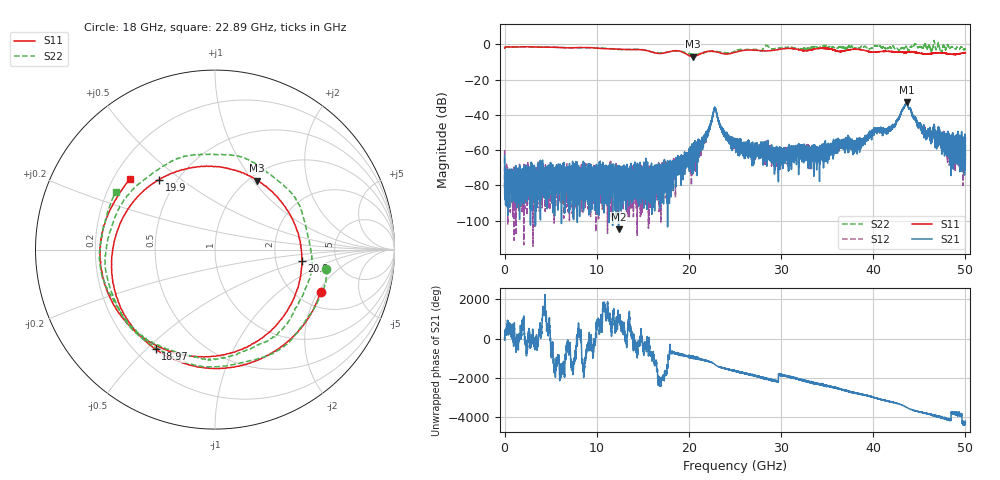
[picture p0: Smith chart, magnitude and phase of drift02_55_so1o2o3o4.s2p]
!Created with skrf (http://scikit-rf.org).
# Hz S RI R 50.0
!freq ReS11 ImS11 ReS21 ImS21 ReS12 ImS12 ReS22 ImS22
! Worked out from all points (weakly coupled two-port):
!   10001 points, 300 kHz to 50 GHz, reference 50 ohm
!   highest |S21| = -32.79 dB at 43.65 GHz (marker M1); lowest = -104.8 dB at 12.37 GHz (marker M2)
!   lowest |S11| = -6.9 dB at 20.41 GHz (marker M3), VSWR 2.63, Z = 54.3 + j52.3 ohm
!   |S11| at or under -10 dB: nowhere
!   |S22| runs from -5.7 to 2.2 dB; largest |S21 - S12| = 0.0034
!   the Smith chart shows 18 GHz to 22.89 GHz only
!   S11 on the Smith chart (normalised r, x): 18 GHz: 2.67, -2.08; 18.97 GHz: 0.28, -0.53; 19.9 GHz: 0.40, +0.42; 20.9 GHz: 2.82, -0.45; 22.89 GHz: 0.27, +0.34
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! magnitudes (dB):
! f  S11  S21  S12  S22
! 300 kHz  -2.1  -63.2  -59.9  -2.1
! 335.3 MHz  -1.4  -87.9  -70.0  -1.4
! 8.335 GHz  -1.7  -76.4  -68.5  -1.9
! 12.37 GHz  -2.7  -104.8  -80.5  -2.9
! 16.67 GHz  -5.2  -77.6  -68.6  -4.7
! 18 GHz  -4.0  -72.9  -70.3  -4.0
! 18.97 GHz  -3.8  -65.0  -67.8  -3.9
! 19.9 GHz  -6.0  -64.6  -64.1  -5.2
! 20.41 GHz  -6.9  -71.6  -57.3  -5.4
! 20.9 GHz  -6.2  -59.9  -57.9  -5.6
! 22.89 GHz  -4.2  -36.5  -36.8  -3.9
! 23.7 GHz  -5.2  -48.9  -49.0  -4.6
! 25 GHz  -4.5  -55.7  -57.9  -3.9
! 29.51 GHz  -3.1  -60.1  -61.9  -2.0
! 33.34 GHz  -3.0  -58.8  -59.0  -1.6
! 38.31 GHz  -2.8  -55.4  -55.7  -2.2
! 41.67 GHz  -4.0  -48.3  -48.3  -2.0
! 43.65 GHz  -4.4  -32.8  -33.8  -1.9
! 45.68 GHz  -5.5  -49.9  -50.8  -0.5
! 48.57 GHz  -5.6  -62.0  -55.2  -1.6
! 49.74 GHz  -4.8  -60.3  -59.5  -2.4
! 50 GHz  -4.7  -52.9  -65.6  -2.7
